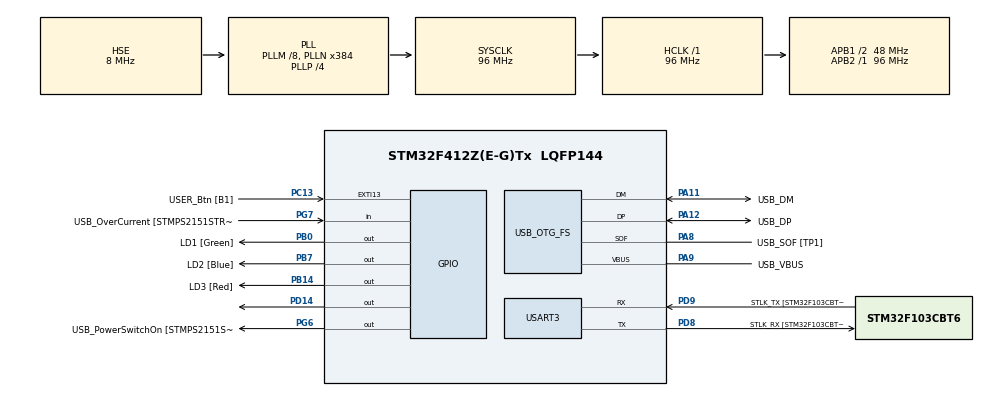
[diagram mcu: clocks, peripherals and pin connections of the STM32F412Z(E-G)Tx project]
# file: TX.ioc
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Mcu.Family=STM32F4
Mcu.Name=STM32F412Z(E-G)Tx
Mcu.Package=LQFP144
NVIC.PriorityGroup=NVIC_PRIORITYGROUP_4
NVIC.TIM4_IRQn=true\:0\:0\:false\:false\:true\:true\:true\:true
NVIC.USART3_IRQn=true\:0\:0\:false\:false\:true\:true\:true\:true
PA10.GPIO_Label=USB_ID
PA10.Signal=USB_OTG_FS_ID
PA11.GPIO_Label=USB_DM
PA11.Mode=Device_Only
PA11.Signal=USB_OTG_FS_DM
PA12.GPIO_Label=USB_DP
PA12.Mode=Device_Only
PA12.Signal=USB_OTG_FS_DP
PA13.GPIO_Label=TMS
PA13.Mode=Serial_Wire
PA13.Signal=SYS_JTMS-SWDIO
PA14.GPIO_Label=TCK
PA14.Mode=Serial_Wire
PA14.Signal=SYS_JTCK-SWCLK
PA8.GPIO_Label=USB_SOF [TP1]
PA8.Mode=Activate_SOF_FS
PA8.Signal=USB_OTG_FS_SOF
PA9.GPIO_Label=USB_VBUS
PA9.Mode=Activate_VBUS
PA9.Signal=USB_OTG_FS_VBUS
PB0.GPIO_Label=LD1 [Green]
PB0.Signal=GPIO_Output
PB14.GPIO_Label=LD3 [Red]
PB14.Signal=GPIO_Output
PB3.GPIO_Label=SWO
PB3.Signal=SYS_JTDO-SWO
PB7.GPIO_Label=LD2 [Blue]
PB7.Signal=GPIO_Output
PC13.GPIO_Label=USER_Btn [B1]
PC13.Signal=GPXTI13
PC14-OSC32_IN.Mode=LSE-External-Oscillator
PC14-OSC32_IN.Signal=RCC_OSC32_IN
PC15-OSC32_OUT.Mode=LSE-External-Oscillator
PC15-OSC32_OUT.Signal=RCC_OSC32_OUT
PD14.GPIO_Speed=GPIO_SPEED_FREQ_VERY_HIGH
PD14.Signal=GPIO_Output
PD8.GPIO_Label=STLK_RX [STM32F103CBT6_PA3]
PD8.Mode=Asynchronous
PD8.Signal=USART3_TX
PD9.GPIO_Label=STLK_TX [STM32F103CBT6_PA2]
PD9.Mode=Asynchronous
PD9.Signal=USART3_RX
PG6.GPIO_Label=USB_PowerSwitchOn [STMPS2151STR_EN]
PG6.Signal=GPIO_Output
PG7.GPIO_Label=USB_OverCurrent [STMPS2151STR_FAULT]
PG7.Signal=GPIO_Input
PH0\ -\ OSC_IN.GPIO_Label=MCO
PH0\ -\ OSC_IN.Mode=HSE-External-Clock-Source
PH0\ -\ OSC_IN.Signal=RCC_OSC_IN
PH1\ -\ OSC_OUT.Mode=HSE-External-Clock-Source
PH1\ -\ OSC_OUT.Signal=RCC_OSC_OUT
ProjectManager.HeapSize=0x200
ProjectManager.StackSize=0x400
ProjectManager.TargetToolchain=CMake
RCC.48MHZClocksFreq_Value=24000000
RCC.AHBFreq_Value=96000000
RCC.APB1CLKDivider=RCC_HCLK_DIV2
RCC.APB1Freq_Value=48000000
RCC.APB1TimFreq_Value=96000000
RCC.APB2Freq_Value=96000000
RCC.APB2TimFreq_Value=96000000
RCC.CortexFreq_Value=96000000
RCC.HCLKFreq_Value=96000000
RCC.HSE_VALUE=8000000
RCC.HSI_VALUE=16000000
RCC.PLLM=8
RCC.PLLMUL=RCC_PLL_MUL9
RCC.PLLN=384
RCC.PLLP=RCC_PLLP_DIV4
RCC.PLLQ=8
RCC.PRESCALERUSB=RCC_USBCLKSOURCE_PLL_DIV1_5
RCC.SYSCLKFreq_VALUE=96000000
RCC.SYSCLKSource=RCC_SYSCLKSOURCE_PLLCLK
RCC.SYSCLKSourceVirtual=RCC_SYSCLKSOURCE_PLLCLK
RCC.USBFreq_Value=48000000
RCC.VCOOutputFreq_Value=384000000
TIM4.Period=1249
TIM4.Prescaler=95
USART3.VirtualMode=VM_ASYNC
USB_OTG_FS.VirtualMode=Device_Only
VP_TIM4_VS_ClockSourceINT.Mode=Internal
board=NUCLEO-F412ZG

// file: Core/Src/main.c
/* USER CODE BEGIN Header */
/**
  ******************************************************************************
  * @file           : main.c
  * @brief          : Main program body
  ******************************************************************************
  */
/* USER CODE END Header */
#include "main.h"
#include <stdio.h>
#include <string.h>
#include "lifi_config.h"
#include "lifi_msg.h"

TIM_HandleTypeDef htim4;
UART_HandleTypeDef huart3;
PCD_HandleTypeDef hpcd_USB_OTG_FS;

void SystemClock_Config(void);
static void MX_GPIO_Init(void);
static void MX_TIM4_Init(void);
static void MX_USART3_UART_Init(void);
static void MX_USB_OTG_FS_PCD_Init(void);

/* USER CODE BEGIN 0 */
#define MAX_TX_BITS 512
LIFI_MSG g_txMsg;
uint8_t txBitBuffer[MAX_TX_BITS];
uint32_t txTotalBits = 0;
uint32_t txBitIndex = 0;
uint8_t txHalfBitState = 0;
volatile uint8_t packetLoopCount = 0;
uint32_t totalPacketsFired = 0;

extern UART_HandleTypeDef huart3;
uint8_t uartRxByte;
uint8_t pcMessageBuffer[128];
uint8_t pcMessageIndex = 0;
uint8_t newPcMessageReady = 0;

void Send_Fragmented_Message(uint8_t* msg, uint8_t total_len) {
    const LIFI_CONFIG* cfg = LiFi_Config_Get();
    char txStatus[128];
    HAL_UART_Transmit(&huart3, (uint8_t*)"\r\n[FIRING CHUNK]: ", 18, 100);
    LiFi_Msg_SendFragmented(&g_txMsg, msg, total_len);
    snprintf(txStatus, sizeof(txStatus), "\r\n[TX STAT] fragments=%lu chunk=%lu gap=%u\r\n> ",
             (unsigned long)g_txMsg.totalPacketsFired,
             (unsigned long)g_txMsg.currentFragmentLength,
             cfg->interPacketGapMs);
    HAL_UART_Transmit(&huart3, (uint8_t*)txStatus, strlen(txStatus), 100);
    HAL_UART_Transmit(&huart3, (uint8_t*)"\r\n[MESSAGE COMPLETE]\r\n> ", 24, 100);

    for (int i = 0; i < 32; i++) txBitBuffer[i] = 0;
    txTotalBits = 32;
    txBitIndex = 0;
    (void)cfg;
}
void HAL_UART_RxCpltCallback(UART_HandleTypeDef *huart) {
    if (huart->Instance == USART3) {
        HAL_UART_Transmit(&huart3, &uartRxByte, 1, 10);
        if (uartRxByte == '\r' || uartRxByte == '\n') {
            if (pcMessageIndex > 0) newPcMessageReady = 1;
        }
        else {
            if (pcMessageIndex < 127) pcMessageBuffer[pcMessageIndex++] = uartRxByte;
        }
        HAL_UART_Receive_IT(&huart3, &uartRxByte, 1);
    }
}
/* USER CODE END 0 */

int main(void)
{
  HAL_Init();
  SystemClock_Config();
  MX_GPIO_Init();
  MX_TIM4_Init();
  MX_USART3_UART_Init();
  MX_USB_OTG_FS_PCD_Init();

  /* USER CODE BEGIN 2 */
  LIFI_CONFIG cfg;
  LiFi_Config_Init(&cfg);
  LiFi_Msg_Init(&g_txMsg);

  for(int i=0; i<MAX_TX_BITS; i++) txBitBuffer[i] = 0;
  txTotalBits = 32;

  HAL_TIM_Base_Start_IT(&htim4);
  HAL_UART_Receive_IT(&huart3, &uartRxByte, 1); // Arm the PC listener

  HAL_UART_Transmit(&huart3, (uint8_t*)"\r\n[TX BOOT] LiFi modem online. Type a message and press Enter.\r\n> ", 69, 100);
  /* USER CODE END 2 */

  /* Infinite loop */
  /* USER CODE BEGIN WHILE */
  uint32_t lastStatusReportMs = 0;
  while (1)
  {
      if ((HAL_GetTick() - lastStatusReportMs) > 2000) {
          char idleStatus[96];
          snprintf(idleStatus, sizeof(idleStatus), "\r\n[TX STATE] active=%u fragments=%lu lastTx=%lu\r\n> ",
                   g_txMsg.txActive,
                   (unsigned long)g_txMsg.totalPacketsFired,
                   (unsigned long)g_txMsg.lastTransmitMs);
          HAL_UART_Transmit(&huart3, (uint8_t*)idleStatus, strlen(idleStatus), 100);
          lastStatusReportMs = HAL_GetTick();
      }

      // 1. Check for Keyboard Input
      if (newPcMessageReady == 1) {

          // Send the message
          Send_Fragmented_Message(pcMessageBuffer, pcMessageIndex);

          // Print dynamic TX Telemetry ONLY after the laser finishes firing
          char txDash[128];
          sprintf(txDash, "[TX SUCCESS] Fragments Fired: %lu | Payload Size: %d Bytes\r\n> ",
                  g_txMsg.totalPacketsFired, pcMessageIndex);
          HAL_UART_Transmit(&huart3, (uint8_t*)txDash, strlen(txDash), 100);

          // Reset
          pcMessageIndex = 0;
          newPcMessageReady = 0;
      }

      HAL_Delay(10);
    /* USER CODE END WHILE */
  }
}

void SystemClock_Config(void)
{
  RCC_OscInitTypeDef RCC_OscInitStruct = {0};
  RCC_ClkInitTypeDef RCC_ClkInitStruct = {0};

  __HAL_RCC_PWR_CLK_ENABLE();
  __HAL_PWR_VOLTAGESCALING_CONFIG(PWR_REGULATOR_VOLTAGE_SCALE1);

  RCC_OscInitStruct.OscillatorType = RCC_OSCILLATORTYPE_HSE;
  RCC_OscInitStruct.HSEState = RCC_HSE_BYPASS;
  RCC_OscInitStruct.PLL.PLLState = RCC_PLL_ON;
  RCC_OscInitStruct.PLL.PLLSource = RCC_PLLSOURCE_HSE;
  RCC_OscInitStruct.PLL.PLLM = 8;
  RCC_OscInitStruct.PLL.PLLN = 384;
  RCC_OscInitStruct.PLL.PLLP = RCC_PLLP_DIV4;
  RCC_OscInitStruct.PLL.PLLQ = 8;
  RCC_OscInitStruct.PLL.PLLR = 2;
  if (HAL_RCC_OscConfig(&RCC_OscInitStruct) != HAL_OK) { Error_Handler(); }

  RCC_ClkInitStruct.ClockType = RCC_CLOCKTYPE_HCLK|RCC_CLOCKTYPE_SYSCLK
                              |RCC_CLOCKTYPE_PCLK1|RCC_CLOCKTYPE_PCLK2;
  RCC_ClkInitStruct.SYSCLKSource = RCC_SYSCLKSOURCE_PLLCLK;
  RCC_ClkInitStruct.AHBCLKDivider = RCC_SYSCLK_DIV1;
  RCC_ClkInitStruct.APB1CLKDivider = RCC_HCLK_DIV2;
  RCC_ClkInitStruct.APB2CLKDivider = RCC_HCLK_DIV1;

  if (HAL_RCC_ClockConfig(&RCC_ClkInitStruct, FLASH_LATENCY_3) != HAL_OK) { Error_Handler(); }
}

static void MX_TIM4_Init(void)
{
  TIM_ClockConfigTypeDef sClockSourceConfig = {0};
  TIM_MasterConfigTypeDef sMasterConfig = {0};

  htim4.Instance = TIM4;
  htim4.Init.Prescaler = 95;
  htim4.Init.CounterMode = TIM_COUNTERMODE_UP;
  htim4.Init.Period = 2499;
  htim4.Init.ClockDivision = TIM_CLOCKDIVISION_DIV1;
  htim4.Init.AutoReloadPreload = TIM_AUTORELOAD_PRELOAD_DISABLE;
  if (HAL_TIM_Base_Init(&htim4) != HAL_OK) { Error_Handler(); }
  sClockSourceConfig.ClockSource = TIM_CLOCKSOURCE_INTERNAL;
  if (HAL_TIM_ConfigClockSource(&htim4, &sClockSourceConfig) != HAL_OK) { Error_Handler(); }
  sMasterConfig.MasterOutputTrigger = TIM_TRGO_RESET;
  sMasterConfig.MasterSlaveMode = TIM_MASTERSLAVEMODE_DISABLE;
  if (HAL_TIMEx_MasterConfigSynchronization(&htim4, &sMasterConfig) != HAL_OK) { Error_Handler(); }
}

static void MX_USART3_UART_Init(void)
{
  huart3.Instance = USART3;
  huart3.Init.BaudRate = 115200;
  huart3.Init.WordLength = UART_WORDLENGTH_8B;
  huart3.Init.StopBits = UART_STOPBITS_1;
  huart3.Init.Parity = UART_PARITY_NONE;
  huart3.Init.Mode = UART_MODE_TX_RX;
  huart3.Init.HwFlowCtl = UART_HWCONTROL_NONE;
  huart3.Init.OverSampling = UART_OVERSAMPLING_16;
  if (HAL_UART_Init(&huart3) != HAL_OK) { Error_Handler(); }
}

static void MX_USB_OTG_FS_PCD_Init(void)
{
  hpcd_USB_OTG_FS.Instance = USB_OTG_FS;
  hpcd_USB_OTG_FS.Init.dev_endpoints = 6;
  hpcd_USB_OTG_FS.Init.speed = PCD_SPEED_FULL;
  hpcd_USB_OTG_FS.Init.dma_enable = DISABLE;
  hpcd_USB_OTG_FS.Init.phy_itface = PCD_PHY_EMBEDDED;
  hpcd_USB_OTG_FS.Init.Sof_enable = ENABLE;
  hpcd_USB_OTG_FS.Init.low_power_enable = DISABLE;
  hpcd_USB_OTG_FS.Init.lpm_enable = DISABLE;
  hpcd_USB_OTG_FS.Init.battery_charging_enable = ENABLE;
  hpcd_USB_OTG_FS.Init.vbus_sensing_enable = ENABLE;
  hpcd_USB_OTG_FS.Init.use_dedicated_ep1 = DISABLE;
  if (HAL_PCD_Init(&hpcd_USB_OTG_FS) != HAL_OK) { Error_Handler(); }
}

static void MX_GPIO_Init(void)
{
  GPIO_InitTypeDef GPIO_InitStruct = {0};
  __HAL_RCC_GPIOC_CLK_ENABLE();
  __HAL_RCC_GPIOH_CLK_ENABLE();
  __HAL_RCC_GPIOA_CLK_ENABLE();
  __HAL_RCC_GPIOB_CLK_ENABLE();
  __HAL_RCC_GPIOD_CLK_ENABLE();
  __HAL_RCC_GPIOG_CLK_ENABLE();

  HAL_GPIO_WritePin(GPIOB, LD1_Pin|LD3_Pin|LD2_Pin, GPIO_PIN_RESET);
  HAL_GPIO_WritePin(GPIOD, GPIO_PIN_14, GPIO_PIN_RESET);
  HAL_GPIO_WritePin(USB_PowerSwitchOn_GPIO_Port, USB_PowerSwitchOn_Pin, GPIO_PIN_RESET);

  GPIO_InitStruct.Pin = USER_Btn_Pin;
  GPIO_InitStruct.Mode = GPIO_MODE_IT_RISING;
  GPIO_InitStruct.Pull = GPIO_NOPULL;
  HAL_GPIO_Init(USER_Btn_GPIO_Port, &GPIO_InitStruct);

  GPIO_InitStruct.Pin = LD1_Pin|LD3_Pin|LD2_Pin;
  GPIO_InitStruct.Mode = GPIO_MODE_OUTPUT_PP;
  GPIO_InitStruct.Pull = GPIO_NOPULL;
  GPIO_InitStruct.Speed = GPIO_SPEED_FREQ_LOW;
  HAL_GPIO_Init(GPIOB, &GPIO_InitStruct);

  GPIO_InitStruct.Pin = GPIO_PIN_14;
  GPIO_InitStruct.Mode = GPIO_MODE_OUTPUT_PP;
  GPIO_InitStruct.Pull = GPIO_NOPULL;
  GPIO_InitStruct.Speed = GPIO_SPEED_FREQ_VERY_HIGH;
  HAL_GPIO_Init(GPIOD, &GPIO_InitStruct);

  GPIO_InitStruct.Pin = USB_PowerSwitchOn_Pin;
  GPIO_InitStruct.Mode = GPIO_MODE_OUTPUT_PP;
  GPIO_InitStruct.Pull = GPIO_NOPULL;
  GPIO_InitStruct.Speed = GPIO_SPEED_FREQ_LOW;
  HAL_GPIO_Init(USB_PowerSwitchOn_GPIO_Port, &GPIO_InitStruct);

  GPIO_InitStruct.Pin = USB_OverCurrent_Pin;
  GPIO_InitStruct.Mode = GPIO_MODE_INPUT;
  GPIO_InitStruct.Pull = GPIO_NOPULL;
  HAL_GPIO_Init(USB_OverCurrent_GPIO_Port, &GPIO_InitStruct);
}

/* USER CODE BEGIN 4 */
void HAL_TIM_PeriodElapsedCallback(TIM_HandleTypeDef *htim)
{
    if (htim->Instance == TIM4)
    {
        const LIFI_CONFIG* cfg = LiFi_Config_Get();
        uint8_t currentDataBit = txBitBuffer[txBitIndex];
        uint8_t firstHalf = currentDataBit;
        uint8_t secondHalf = currentDataBit;

        if (cfg->codecMode == LIFI_CODEC_MANCHESTER) {
            secondHalf = (currentDataBit == 0) ? 1u : 0u;
        }

        if (txHalfBitState == 0) {
            HAL_GPIO_WritePin(GPIOD, GPIO_PIN_14, (firstHalf == 1) ? GPIO_PIN_SET : GPIO_PIN_RESET);
            txHalfBitState = 1;
        } else {
            HAL_GPIO_WritePin(GPIOD, GPIO_PIN_14, (secondHalf == 1) ? GPIO_PIN_SET : GPIO_PIN_RESET);
            txHalfBitState = 0;

            txBitIndex++;
            if (txBitIndex >= txTotalBits) {
                txBitIndex = 0;
                g_txMsg.packetLoopCount++;
            }
        }
    }
}
/* USER CODE END 4 */

void Error_Handler(void) { __disable_irq(); while (1) { } }
